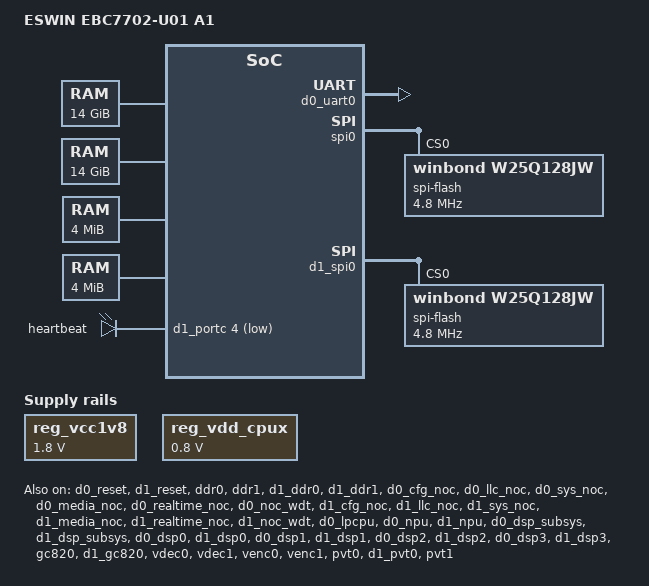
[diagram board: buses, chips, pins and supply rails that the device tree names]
// SPDX-License-Identifier: GPL-2.0
/*
 * Device Tree file for Eswin EIC7700 SoC.
 *
 * Copyright 2024, Beijing ESWIN Computing Technology Co., Ltd.. All rights reserved.
 * SPDX-License-Identifier: GPL-2.0
 *
 * This program is free software: you can redistribute it and/or modify
 * it under the terms of the GNU General Public License as published by
 * the Free Software Foundation, version 2.
 *
 * This program is distributed in the hope that it will be useful,
 * but WITHOUT ANY WARRANTY; without even the implied warranty of
 * MERCHANTABILITY or FITNESS FOR A PARTICULAR PURPOSE.  See the
 * GNU General Public License for more details.
 *
 * You should have received a copy of the GNU General Public License
 * along with this program.  If not, see <https://www.gnu.org/licenses/>.
 */

/dts-v1/;

#define RTCCLK_FREQ		1000000
#define LSPCLK_FREQ		200000000

/* If wanna enable ECC capability of DDR, should reserve highest zone of 1/8 all space for it */
#define MEMORY_SIZE_H		0x3
#define MEMORY_SIZE_L		0x80000000
#define CMA_SIZE		0x20000000

#include "eswin-win2030-die0-soc.dtsi"
#include "eswin-win2030-die1-soc.dtsi"

#include "eic7x-die0-pinctrl.dtsi"
#include "eic7x-die1-pinctrl.dtsi"
#include <dt-bindings/interrupt-controller/irq.h>
#include <dt-bindings/gpio/gpio.h>
#include <dt-bindings/input/input.h>

/* Clock frequency (in Hz) of the PCB crystal for rtcclk */

/ {
	#address-cells = <2>;
	#size-cells = <2>;
	model = "ESWIN EBC7702-U01 A1";

	aliases {
		serial0 = &d0_uart0;
		ethernet0 = &d0_gmac0;
		ethernet1 = &d0_gmac1;
		ethernet2 = &d1_gmac0;
		ethernet3 = &d1_gmac1;
		rtc0 = &die0_rtc;
		rtc1 = &d1_rtc;
	};

	chosen {
		stdout-path = "serial0:115200n8";
	};

	cpus {
		timebase-frequency = <RTCCLK_FREQ>;
	};

	memory@80000000 {
		device_type = "memory";
		reg = <0x0 0x80000000 MEMORY_SIZE_H MEMORY_SIZE_L>;
		numa-node-id = <0>;
	};

	memory@2000000000 {
		device_type = "memory";
		reg = <0x20 0x00000000 MEMORY_SIZE_H MEMORY_SIZE_L>;
		numa-node-id = <1>;
	};

	memory@59000000 {
		device_type = "memory";
		reg = <0x0 0x59000000 0x0 0x400000>;
		numa-node-id = <0>;
	};

	memory@79000000 {
		device_type = "memory";
		reg = <0x0 0x79000000 0x0 0x400000>;
		numa-node-id = <1>;
	};

	reserved-memory {
		#address-cells = <2>;
		#size-cells = <2>;
		ranges;

		linux,cma {
			compatible = "shared-dma-pool";
			reusable;
			size = <0x0 CMA_SIZE>;
			alignment = <0x0 0x1000>;
			alloc-ranges = <0x20 0x00000000 MEMORY_SIZE_H MEMORY_SIZE_L>;
			linux,cma-default;
		};

		npu0_reserved: sprammemory@59000000 {
			no-map;
			reg = <0x0 0x59000000 0x0 0x400000>;
		};

		npu1_reserved: sprammemory@79000000 {
			no-map;
			reg = <0x0 0x79000000 0x0 0x400000>;
		};

		ramoops@fff00000 {
			compatible = "ramoops";
			reg = <0x0 0xfff00000 0x0 0x100000>;
			console-size = <0x40000>;
			record-size = <0x40000>;
			ftrace-size = <0x40000>;
			pmsg-size = <0x40000>;
			no-map;
		};

		mmz_nid_0_part_0 {
			compatible = "eswin-reserve-memory";
			reg = <0x1 0x80000000 0x2 0x80000000>;
			no-map;
		};

		nid_1_zero_device_simu: nid_1_zero_device_simu@2040000000 {
			no-map;
			reg = <0x20 0x40000000 0x0 0x400000>;
		};

		d1_g2d_4GB_boundary_reserved_4k {
			no-map;
			reg = <0x20 0xfffff000 0x0 0x1000>;
		};

		mmz_nid_1_part_0 {
			compatible = "eswin-reserve-memory";
			reg = <0x21 0x0 0x2 0x80000000>;
			no-map;
		};

		rpc_reserved:rpc_reserved@100000000 {
			reg = <0x1 0x0 0 0x1000>;
			no-map;
		};

		commu_reserved:commu_reserved@100001000 {
			reg = <0x1 0x1000 0 0x10000>;
			no-map;
		};

		kernel_debug_reserved:kernel_debug_reserved@100011000 {
			reg = <0x1 0x11000 0 0x100000>;
			no-map;
		};

		pgretire_reserved:pgretire_reserved@100111000 {
			reg = <0x1 0x111000 0 0x100000>;
			no-map;
		};

		configs_reserved:configs_reserved@100211000 {
			reg = <0x1 0x211000 0 0x1000>;
			no-map;
		};

		ipcm_vdev0vring0:vdev0vring0@100212000 {
			reg = <0x1 0x212000 0 0x100000>;
			no-map;
		};

		ipcm_vdev0vring1:vdev0vring1@100312000 {
			reg = <0x1 0x312000 0 0x100000>;
			no-map;
		};

		ipcm_vdev0buffer:vdev0buffer@100412000 {
			compatible = "shared-dma-pool";
			reg = <0x1 0x412000 0 0x4000000>; // pre is rx
			no-map;
		};

		rsc_table0:rsc_table0@104412000 {
			reg = <0x1 0x4412000 0 0x1000>;
			no-map;
		};

		version_table:version_table@104413000 {
			reg = <0x1 0x4413000 0 0x1000>;
			no-map;
		};

		bd_table:bd_table@104414000 {
			reg = <0x1 0x4414000 0 0x1000>;
			no-map;
		};

		usage_table:usage_table@104415000 {
			reg = <0x1 0x4415000 0 0x1000>;
			no-map;
		};

		share_memory {
			compatible = "eswin,shm";
			#address-cells = <2>;
			#size-cells = <2>;
			phys-base = <0x1 0x4416000>;
			virt-base = <0x1 0x4416000>;
			shm-size = <0xbbea000>;
			reg = <0x1 0x4416000 0 0xbbea000>;
		};

	};

	soc {
		d0_ipcm:ipcm@0 {
			compatible = "eswin,ipcm", "simple-bus";
			#address-cells = <2>;
			#size-cells = <2>;
			vf_id = <0>;
			numa-node-id = <0>;
			memory-region = <&ipcm_vdev0vring0>,<&ipcm_vdev0vring1>,<&ipcm_vdev0buffer>;
			interrupt-parent = <&plic0>;
			interrupts = <123>;
		  	smmu_dev = <&smmu_cfg_0>;
		};

		dev_smmu_cfg: smmu_cfg@0 {
			compatible = "eswin,vpu7702_dev_smmu_cfg";
			#size-cells = <2>;
			dma-ranges = <0x0 0x20000000 0x0 0xc0000000 0x0 0xc0000000>;
			iommus = <&smmu0 WIN2030_SID_DEV_FOO_B>;
			iommu-map = <0x000000 &smmu0 0xff0000 0xffffff>;
			tbus = <WIN2030_TBUID_PCIE>;
			status = "okay";
			numa-node-id = <0>;
			dma-noncoherent;
                        #include "smmu_cfg.dtsi"
		};
	};


	distance-map {
		compatible = "numa-distance-map-v1";
		distance-matrix = <0 0 10>,
				<0 1 100>,
				<1 0 100>,
				<1 1 10>;
	};

	/* die1 gpio68 system led */
	leds {
		compatible = "gpio-leds";
		pinctrl-names = "default";
		pinctrl-0 = <&pinctrl_die1_gpio68_default>;

		gpio-68 {
			gpios = <&d1_portc 4 GPIO_ACTIVE_LOW>;
			label = "heartbeat";
			linux,default-trigger = "heartbeat";
		};
	};
	reg_vcc1v8: vcc1v8 {
		compatible = "regulator-fixed";
		regulator-name = "vcc1v8";
		regulator-min-microvolt = <1800000>;
		regulator-max-microvolt = <1800000>;
	};
	reg_vdd_cpux: vdd-cpux-regulator {
		compatible = "regulator-fixed";
		regulator-name = "vcc0v8";
		regulator-min-microvolt = <800000>;
		regulator-max-microvolt = <800000>;
	};
	eswin_cpufreq {
		compatible = "eswin,eic772x-cpufreq";
		status = "okay";
	};
};

&cpu_0 {
	cpu-supply = <&reg_vdd_cpux>;
};

&cpu_4 {
	cpu-supply = <&reg_vdd_cpux>;
};

&D1CACHE {
	status = "okay";
	d1_zero_device: zero-device@3a000000 {
		compatible = "l3,zero-device";
		/*reg = <0x0 0x3a000000 0x0 0x400000>;*/
		memory-region = <&nid_1_zero_device_simu>;
	};
};

&d0_trip_threshold {
	temperature = <60000>;
};
&d0_trip_target {
	temperature = <70000>;
};
&d0_trip_crit {
	temperature = <80000>;
};

&d1_trip_threshold {
	temperature = <60000>;
};
&d1_trip_target {
	temperature = <70000>;
};
&d1_trip_crit {
	temperature = <80000>;
};

&d0_clock {
	status = "okay";
};
&d1_clock {
	status = "okay";
};

&d0_reset {
	status = "okay";
};
&d1_reset {
	status = "okay";
};

&d0_pmu {
	status = "okay";
	npu-supply=<&d0_npu_vcc>;
	d0_pmu_pcie: win2030-pmu-controller-port@0 {
		power_status = <2>;
	};
	d0_pmu_vi: win2030-pmu-controller-port@80 {
		power_status = <0>;
	};
	d0_pmu_vo: win2030-pmu-controller-port@c0 {
		power_status = <0>;
	};

};
&d1_pmu {
	status = "okay";
	npu-supply=<&d1_npu_vcc>;
	d1_pmu_pcie: win2030-pmu-controller-port@0 {
		power_status = <2>;
	};
	d1_pmu_vi: win2030-pmu-controller-port@80 {
		power_status = <0>;
	};
	d1_pmu_vo: win2030-pmu-controller-port@c0 {
		power_status = <0>;
	};
};

&ddr0 {
	status = "okay";
};

&ddr1 {
	status = "okay";
};

&d1_ddr0 {
	status = "okay";
};

&d1_ddr1 {
	status = "okay";
};

&smmu0 {
	status = "okay";
};
&smmu1 {
	status = "okay";
};

&smmu_pmu0 {
	status = "disabled";
};
&smmu_pmu1 {
	status = "disabled";
};


&dev_foo_a {
	status = "disabled";
};

&d0_cfg_noc {
	status = "okay";
};

&d0_llc_noc {
	status = "okay";
	stat,0 = "TracePort:ddr0_p0_req";
	stat,1 = "TracePort:ddr1_p0_req";
	//latency,0 = "TracePort:llcnoc_trans_probe";
	//pending,0 = "TracePort:llcnoc_trans_probe";
};

&d0_sys_noc {
	status = "okay";

	//eswin,DSPT-qos-owner;
	//eswin,NPU-qos-owner;
	//eswin,SPISLV_TBU3-qos-owner;

	stat,0 = "TracePort:ddr0_p1_req",
		 "InitFlow:mcput_snoc_mp/I/0";

	stat,1 = "TracePort:ddr0_p2_req",
		 "InitFlow:dspt_snoc/I/0",
		 "AddrBase:0x81000000", "AddrSize:0x30",
		 "Opcode:RdWrLockUrg", "Status:ReqRsp", "Length:0x8000", "Urgency:0x0";

	stat,2 = "TracePort:ddr1_p1_req",
		 "Status:Req", "AddrSize:0x28";

	stat,3 = "TracePort:ddr1_p2_req";

	latency,0 = "TracePort:sysnoc_trans_probe_0", "AddrSize:0x0";
	latency,1 = "TracePort:sysnoc_trans_probe_1","Mode:latency","AddrBase:0x82000000","AddrSize:0x28","Opcode:RdWr";
	//latency,2 = "TracePort:sysnoc_trans_probe_2";

	//pending,0 = "TracePort:sysnoc_trans_probe_0";
	//pending,1 = "TracePort:sysnoc_trans_probe_1","Mode:latency","AddrBase:0x82000000","AddrSize:0x0","Opcode:RdWr";
	pending,0 = "TracePort:sysnoc_trans_probe_2", "AddrSize:0x3";
};

&d0_media_noc {
	status = "okay";

	//eswin,GPU-qos-owner;
	//eswin,TBU2-qos-owner;
	//eswin,VC-qos-owner;

	stat,0 = "TracePort:ddr0_p3_req";
	stat,1 = "TracePort:ddr1_p3_req";
	//latency,0 = "TracePort:mnoc_trans_probe";
	//pending,0 = "TracePort:mnoc_trans_probe";
};

&d0_realtime_noc {
	status = "okay";

	//eswin,TBU0-qos-owner;
	//eswin,VO-qos-owner;

	stat,0 = "TracePort:ddr0_p4_req";
	stat,1 = "TracePort:ddr1_p4_req";
	//latency,0 = "TracePort:rnoc_trans_probe";
	//pending,0 = "TracePort:rnoc_trans_probe";
};

&d0_noc_wdt {
	status = "okay";
};

&d1_cfg_noc {
	status = "okay";
};

&d1_llc_noc {
	status = "okay";
	stat,0 = "TracePort:ddr0_p0_req";
	stat,1 = "TracePort:ddr1_p0_req";
	//latency,0 = "TracePort:llcnoc_trans_probe";
	//pending,0 = "TracePort:llcnoc_trans_probe";
};

&d1_sys_noc {
	status = "okay";

	//eswin,DSPT-qos-owner;
	//eswin,NPU-qos-owner;
	//eswin,SPISLV_TBU3-qos-owner;

	stat,0 = "TracePort:ddr0_p1_req",
		 "InitFlow:mcput_snoc_mp/I/0";

	stat,1 = "TracePort:ddr0_p2_req",
		 "InitFlow:dspt_snoc/I/0",
		 "AddrBase:0x81000000", "AddrSize:0x30",
		 "Opcode:RdWrLockUrg", "Status:ReqRsp", "Length:0x8000", "Urgency:0x0";

	stat,2 = "TracePort:ddr1_p1_req",
		 "Status:Req", "AddrSize:0x28";

	stat,3 = "TracePort:ddr1_p2_req";

	latency,0 = "TracePort:sysnoc_trans_probe_0", "AddrSize:0x0";
	latency,1 = "TracePort:sysnoc_trans_probe_1","Mode:latency","AddrBase:0x82000000","AddrSize:0x28","Opcode:RdWr";
	//latency,2 = "TracePort:sysnoc_trans_probe_2";

	//pending,0 = "TracePort:sysnoc_trans_probe_0";
	//pending,1 = "TracePort:sysnoc_trans_probe_1","Mode:latency","AddrBase:0x82000000","AddrSize:0x0","Opcode:RdWr";
	pending,0 = "TracePort:sysnoc_trans_probe_2", "AddrSize:0x3";
};

&d1_media_noc {
	status = "okay";

	//eswin,GPU-qos-owner;
	//eswin,TBU2-qos-owner;
	//eswin,VC-qos-owner;

	stat,0 = "TracePort:ddr0_p3_req";
	stat,1 = "TracePort:ddr1_p3_req";
	//latency,0 = "TracePort:mnoc_trans_probe";
	//pending,0 = "TracePort:mnoc_trans_probe";
};

&d1_realtime_noc {
	status = "okay";

	//eswin,TBU0-qos-owner;
	//eswin,VO-qos-owner;

	stat,0 = "TracePort:ddr0_p4_req";
	stat,1 = "TracePort:ddr1_p4_req";
	//latency,0 = "TracePort:rnoc_trans_probe";
	//pending,0 = "TracePort:rnoc_trans_probe";
};

&d1_noc_wdt {
	status = "okay";
};

&d0_ipc_scpu {
	status = "okay";
};
&d1_ipc_scpu {
	status = "okay";
};

&d0_lpcpu {
	status = "okay";
};

&d1_lpcpu {
	status = "disabled";
};

&pcie {
	status = "disabled";
};
&d1_pcie {
	status = "disabled";
};

&d0_npu {
	status = "okay";
	npu-supply = <&d0_npu_vcc>;
};
&d1_npu {
	status = "okay";
	npu-supply = <&d1_npu_vcc>;
};

&d0_dsp_subsys {
	status = "okay";
};
&d1_dsp_subsys {
	status = "okay";
};

&d0_dsp0 {
	status = "okay";
};
&d1_dsp0 {
	status = "okay";
};

&d0_dsp1 {
	status = "okay";
};
&d1_dsp1 {
	status = "okay";
};

&d0_dsp2 {
	status = "okay";
};
&d1_dsp2 {
	status = "okay";
};

&d0_dsp3 {
	status = "okay";
};
&d1_dsp3 {
	status = "okay";
};

&gpu0 {
	status = "disabled";
};
&d1_gpu {
	status = "disabled";
};

&gc820 {
	status = "okay";
};
&d1_gc820 {
	status = "okay";
};

&vdec0 {
	status = "okay";
};
&vdec1 {
	status = "okay";
};

&venc0 {
	status = "okay";
};
&venc1 {
	status = "okay";
};

&video_output {
	status = "disabled";
};

&d1_video_output {
	status = "disabled";
};

&dc {
	status = "disabled";
};

&d1_dc {
	status = "disabled";
};

&dc_test {
	status = "disabled";
};
&d1_dc_test {
	status = "disabled";
};

&virtual_display {
	status = "disabled";
};

&d1_virtual_display {
	status = "disabled";
};

&dsi_controller {
    status = "disabled";
};
&d1_dsi_controller {
	status = "disabled";
};

&dw_hdmi {
	status = "disabled";
};
&d1_dw_hdmi {
	status = "disabled";
};

&dw_hdmi_hdcp2 {
	status = "disabled";
};
&d1_dw_hdmi_hdcp2 {
	status = "disabled";
};


&d0_i2s0 {
	status = "disabled";
};

&d1_i2s0 {
	status = "disabled";
};

&d0_i2s1 {
	status = "disabled";
};

&d1_i2s1 {
	status = "disabled";
};

&d0_i2s2 {
	status = "disabled";
};

&d1_i2s2 {
	status = "disabled";
};

&d0_graphcard0 {
	status = "disabled";
};

&d0_graphcard1 {
	status = "disabled";
};

&d0_graphcard2 {
	status = "disabled";
};

&d1_graphcard0 {
	status = "disabled";
};

&d1_graphcard1 {
	status = "disabled";
};

&d1_graphcard2 {
	status = "disabled";
};

&isp_0 {
	status = "disabled";
};
&d1_isp_0 {
	status = "disabled";
};

&isp_1 {
	status = "disabled";
};
&d1_isp_1 {
	status = "disabled";
};

&dewarp {
	status = "disabled";
};
&d1_dewarp {
	status = "disabled";
};

&sdhci_emmc {
	status = "disabled";
};

&d1_sdhci_emmc {
	status = "disabled";
};

&sdio0 {
	status = "disabled";
};

&d1_sdio0 {
	status = "disabled";
};

&sdio1 {
	status = "disabled";
};

&d1_sdio1 {
	status = "disabled";
};

&d0_gmac0 {
	status = "disabled";
};

&d1_gmac0 {
	status = "disabled";
};

&d0_gmac1 {
	status = "disabled";
};

&d1_gmac1 {
	status = "disabled";
};

&d0_sata {
	status = "disabled";
};

&d0_sata_phy {
	status = "disabled";
};

&d1_sata {
	status = "disabled";
};

&d1_sata_phy {
	status = "disabled";
};

&d0_usbdrd3_0 {
	status = "disabled";
};
&d1_usbdrd3_0 {
	status = "disabled";
};

&d0_usbdrd_dwc3_0 {
	status = "disabled";
};

&d1_usbdrd_dwc3_0 {
	status = "disabled";
};

&d0_usbdrd3_1 {
	status = "disabled";
};

&d1_usbdrd3_1 {
	status = "disabled";
};

&d0_usbdrd_dwc3_1 {
	status = "disabled";
};

&d1_usbdrd_dwc3_1 {
	status = "disabled";
};

&d0_dmac0 {
	status = "okay";
};

&d1_dmac0 {
	status = "okay";
};

&d0_aon_dmac {
	status = "okay";
};

&d1_aon_dmac {
	status = "okay";
};

&d0_uart0 {
	/* debug */
	status = "okay";
};

&d1_uart0 {
	status = "disabled";
};

&d0_uart1 {
	/* RS232 DB9 */
	status = "disabled";
};

&d1_uart1 {
	/* BT M.2 KEY-E */
	status = "disabled";
};

&d0_uart2 {
	/* pin header */
	status = "disabled";
};

&d1_uart2 {
	/* pin header */
	status = "disabled";
};

&d0_uart3 {
	/* unused */
	status = "disabled";
};

&d1_uart3 {
	/* unused */
	status = "disabled";
};

&d0_uart4 {
	/* unused */
	status = "disabled";
};

&d1_uart4 {
	/* unused */
	status = "disabled";
};

&spi1 {
	status = "disabled";
};
&d1_spi1 {
	status = "disabled";
};

&spi2 {
	/* unused */
	status = "disabled";
};

&d1_spi2 {
	/* unused */
	status = "disabled";
};

&spi0 {
	/* spi flash */
	status = "okay";
	num-cs = <1>;
	spi-flash@0 {
		compatible = "winbond,w25q128jw",
					"jedec,spi-nor";
		reg = <0>;
		#address-cells = <1>;
		#size-cells = <1>;
		spi-max-frequency = <4800000>;
		rx-sample-delay-ns = <10>;
	};
};

&d1_spi0 {
	/* spi flash */
	status = "okay";
	num-cs = <1>;
	spi-flash@0 {
		compatible = "winbond,w25q128jw",
					"jedec,spi-nor";
		reg = <0>;
		#address-cells = <1>;
		#size-cells = <1>;
		spi-max-frequency = <4800000>;
		rx-sample-delay-ns = <10>;
	};
};

&d0_mbox0 {
	status = "okay";
};
&d1_mbox0 {
	status = "okay";
};

&d0_mbox1 {
	status = "okay";
};
&d1_mbox1 {
	status = "okay";
};

&d0_mbox2 {
	status = "okay";
};
&d1_mbox2 {
	status = "okay";
};

&d0_mbox3 {
	status = "disabled";
};
&d1_mbox3 {
	status = "disabled";
};

&d0_mbox4 {
	status = "okay";
};
&d1_mbox4 {
	status = "okay";
};

&d0_mbox5 {
	status = "okay";
};
&d1_mbox5 {
	status = "okay";
};

&d0_mbox6 {
	status = "okay";
};
&d1_mbox6 {
	status = "okay";
};

&d0_mbox7 {
	status = "okay";
};
&d1_mbox7 {
	status = "okay";
};

&fan_control {
	status = "disabled";
};
&d1_fan_control {
	status = "disabled";
};

&d0_i2c0 {
	/* SOC1 ina226, used by lpcpu */
	status = "disabled";
};

&d1_i2c0 {
	status = "disabled";
};

&d0_i2c1 {
	status = "disabled";
};
&d1_i2c1 {
	status = "disabled";
};

&d0_i2c2 {
	/* SOC1&4 temp sensor, read by lpcpu */
	status = "disabled";
};

&d1_i2c2 {
	status = "disabled";
};

&d0_i2c3 {
	/* SOC2&4 serdes clk, configured by scpu&lpcpu */
	status = "disabled";
};
&d1_i2c3 {
	status = "disabled";
};

&d0_i2c4 {
	/* SOC1 ADS1115, accessed by lpcpu */
	status = "disabled";
};
&d1_i2c4 {
	status = "disabled";
};

&d0_i2c5 {
	/* SOC1 eeprom, read by lpcpu */
	status = "disabled";
};
&d1_i2c5 {
	status = "disabled";
};

&d0_i2c6 {
	/* unused */
	status = "disabled";
};
&d1_i2c6 {
	status = "disabled";
};

&d0_i2c7 {
	/* unused */
	status = "disabled";
};
&d1_i2c7 {
	status = "disabled";
};

&d0_i2c8 {
	status = "disabled";
};
&d1_i2c8 {
	status = "disabled";
};

&d0_i2c9 {
	/* unused */
	status = "disabled";
};
&d1_i2c9 {
	status = "disabled";
};

&d0_i2c10 {
	/* SOC1 smbus, accessed by lpcpu */
	status = "disabled";
};
&d0_i2c11 {
	status = "disabled";
};

&d1_i2c10 {
	status = "disabled";
};

&d1_i2c11 {
	status = "disabled";
};

&pwm0 {
	/* fan */
	status = "disabled";
};
&d1_pwm0 {
	status = "disabled";
};

&pvt0 {
	status = "okay";
	compatible = "eswin,eswin-dummy-pvt-cpu";
	eswin,data-reg = <0x0 0x51810000 0x0668>;
};
&d1_pvt0 {
	status = "okay";
	compatible = "eswin,eswin-dummy-pvt-cpu";
	eswin,data-reg = <0x0 0x71810000 0x0668>;
};

&pvt1 {
	status = "okay";
};
&d1_pvt1 {
	status = "okay";
};

&wdt0 {
	status = "disabled";
};
&d1_wdt0 {
	status = "disabled";
};

&wdt1 {
	status = "disabled";
};
&d1_wdt1 {
	status = "disabled";
};

&wdt2 {
	status = "disabled";
};
&d1_wdt2 {
	status = "disabled";
};

&wdt3 {
	status = "disabled";
};
&d1_wdt3 {
	status = "disabled";
};

&die0_rtc {
	status = "okay";
};
&d1_rtc {
	status = "okay";
};

&pinctrl {
	status = "okay";
};
&d1_pinctrl {
	status = "okay";
};

&gpio0 {
	status = "okay";
};
&d1_gpio0 {
	status = "okay";
};

&d0_dev_llc {
	npu-supply = <&d0_npu_vcc>;
	status = "okay";
};
&d1_dev_llc {
	npu-supply = <&d1_npu_vcc>;
	status = "okay";
};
